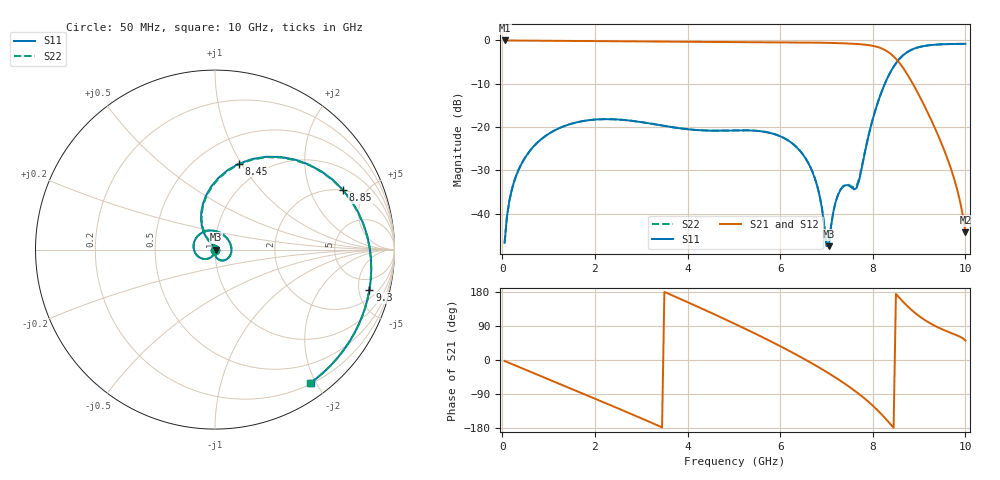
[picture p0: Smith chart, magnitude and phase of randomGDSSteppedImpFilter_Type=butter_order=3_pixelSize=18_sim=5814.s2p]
! freq	dB(S11)	phase(S11)	dB(S12)	phase(S12)
!  dB(S21)	phase(S21)	dB(S22)	phase(S22)
!S-par simulation data
#  GHz  S  DB  R 50
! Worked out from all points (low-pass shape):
!   200 points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, 50 MHz to 10 GHz, reference 50 ohm
!   highest |S21| = 0.00 dB at 50 MHz (marker M1); lowest = -44.3 dB at 10 GHz (marker M2)
!   |S21| within 3 dB of the highest: start of sweep to 8.375 GHz
!   lowest |S11| = -47.5 dB at 7.05 GHz (marker M3), VSWR 1.01, Z = 50.4 + j0.0384 ohm
!   |S11| at or under -10 dB: start of sweep to 8.261 GHz
!   |S22| runs from -46.7 to -0.8 dB; largest |S21 - S12| = 0
!   S11 on the Smith chart (normalised r, x): 50 MHz: 1.00, -0.01; 8.45 GHz: 0.77, +0.98; 8.85 GHz: 1.98, +3.45; 9.3 GHz: 3.02, -6.44; 10 GHz: 0.22, -1.94
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0.05  -46.71 -91.5  -0.00 -2.6  -0.00 -2.6  -46.71 -91.5
0.2  -34.66 -99.7  -0.02 -10.3  -0.02 -10.3  -34.66 -99.7
0.5  -26.92 -115.8  -0.04 -25.6  -0.04 -25.6  -26.92 -115.9
1.15  -20.65 -149.6  -0.10 -58.6  -0.10 -58.6  -20.65 -149.6
1.75  -18.59 179.7  -0.16 -89.2  -0.16 -89.2  -18.59 179.5
2.5  -18.25 140.9  -0.22 -127.7  -0.22 -127.7  -18.25 140.7
3.4  -19.54 93.4  -0.27 -175.0  -0.27 -175.0  -19.55 93.2
4.15  -20.64 52.9  -0.32 144.4  -0.32 144.4  -20.64 52.7
5.05  -20.75 3.6  -0.38 93.8  -0.38 93.8  -20.75 3.7
5.8  -21.39 -38.5  -0.43 49.1  -0.43 49.1  -21.38 -38.2
6.7  -30.41 -88.1  -0.49 -9.7  -0.49 -9.7  -30.37 -86.8
7.05  -47.48 5.2  -0.56 -35.2  -0.56 -35.2  -46.75 2.3
7.25  -35.63 43.0  -0.62 -50.6  -0.62 -50.6  -35.58 42.6
7.65  -34.05 83.8  -0.81 -84.8  -0.81 -84.8  -33.57 83.6
7.75  -30.10 114.5  -0.89 -94.2  -0.89 -94.2  -29.78 112.7
8.05  -16.32 118.8  -1.36 -126.3  -1.36 -126.3  -16.28 117.6
8.35  -7.95 87.2  -2.79 -164.8  -2.79 -164.8  -7.94 86.5
8.45  -6.07 74.4  -3.69 -178.7  -3.69 -178.7  -6.05 73.7
8.85  -2.08 25.0  -9.70 130.7  -9.70 130.7  -2.08 24.6
9.3  -1.02 -14.6  -19.24 92.7  -19.24 92.7  -1.02 -14.9
9.75  -0.81 -41.9  -31.68 68.5  -31.68 68.5  -0.81 -42.1
10  -0.78 -54.2  -44.26 51.2  -44.26 51.2  -0.78 -54.4
